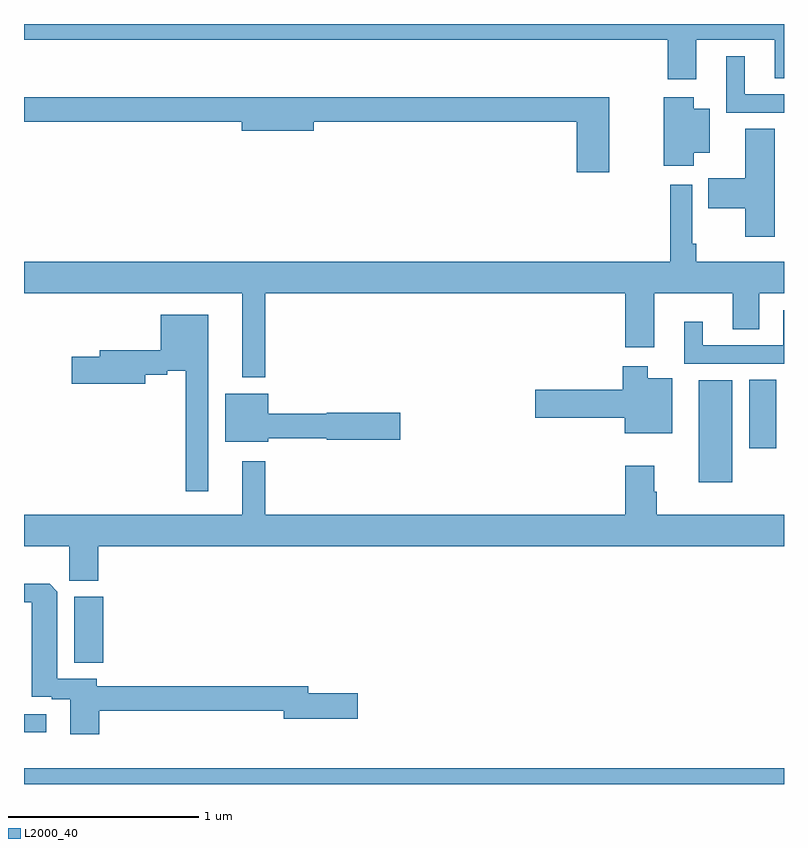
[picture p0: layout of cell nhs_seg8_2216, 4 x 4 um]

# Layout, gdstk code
import gdstk
lib = gdstk.Library(unit=1e-6, precision=1e-09)
def R(c, l, rs):  # rectangles x0, y0, x1, y1
    for r in rs: c.add(gdstk.rectangle(r[:2], r[2:], *l))
def P(c, l, *ps):  # polygons
    for p in ps: c.add(gdstk.Polygon(p, *l))
L2000_40 = (2000, 40)

nhs_seg8_2216 = lib.new_cell('nhs_seg8_2216')
R(nhs_seg8_2216, L2000_40, [(251,1129.9,255,1129.984), (251,1130.172,251.116,1130.268), (251.264,1130.539,251.417,1130.886), (254.552,1131.488,254.728,1132.024), (254.816,1131.666,254.959,1132.028)])
P(nhs_seg8_2216, L2000_40, [(254.539,1133.816),(254.951,1133.816),(254.951,1133.614),(255,1133.614),(255,1133.9),(251,1133.9),(251,1133.816),(254.387,1133.816),(254.387,1133.61),(254.539,1133.61)],
  [(255,1133.529),(254.794,1133.529),(254.794,1133.731),(254.696,1133.731),(254.696,1133.433),(255,1133.433)],
  [(254.524,1133.222),(254.608,1133.222),(254.608,1133.455),(254.524,1133.455),(254.524,1133.515),(254.366,1133.515),(254.366,1133.154),(254.524,1133.154)],
  [(254.08,1133.515),(251,1133.515),(251,1133.386),(252.146,1133.386),(252.146,1133.339),(252.526,1133.339),(252.526,1133.386),(253.91,1133.386),(253.91,1133.121),(254.08,1133.121)],
  [(254.95,1133.348),(254.795,1133.348),(254.795,1133.089),(254.602,1133.089),(254.602,1132.931),(254.795,1132.931),(254.795,1132.779),(254.95,1132.779)],
  [(252.271,1132.484),(254.165,1132.484),(254.165,1132.2),(254.317,1132.2),(254.317,1132.484),(254.729,1132.484),(254.729,1132.294),(254.869,1132.294),(254.869,1132.484),(255,1132.484),(255,1132.648),(254.537,1132.648),(254.537,1132.744),(254.517,1132.744),(254.517,1133.053),(254.401,1133.053),(254.401,1132.648),(251,1132.648),(251,1132.484),(252.149,1132.484),(252.149,1132.04),(252.271,1132.04)],
  [(255,1132.393),(254.996,1132.393),(254.996,1132.209),(254.572,1132.209),(254.572,1132.333),(254.474,1132.333),(254.474,1132.113),(255,1132.113)],
  [(251.971,1132.369),(251.72,1132.369),(251.72,1132.183),(251.399,1132.183),(251.399,1132.149),(251.25,1132.149),(251.25,1132.007),(251.638,1132.007),(251.638,1132.054),(251.753,1132.054),(251.753,1132.074),(251.85,1132.074),(251.85,1131.441),(251.971,1131.441)],
  [(254.413,1132.036),(254.284,1132.036),(254.284,1132.099),(254.15,1132.099),(254.15,1131.974),(253.692,1131.974),(253.692,1131.827),(254.162,1131.827),(254.162,1131.746),(254.413,1131.746)],
  [(252.286,1131.72),(252.594,1131.72),(252.594,1131.712),(252.979,1131.712),(252.979,1131.854),(252.594,1131.854),(252.594,1131.848),(252.286,1131.848),(252.286,1131.955),(252.059,1131.955),(252.059,1131.701),(252.286,1131.701)],
  [(251.39,1131.152),(255,1131.152),(255,1131.316),(254.33,1131.316),(254.33,1131.437),(254.317,1131.437),(254.317,1131.574),(254.165,1131.574),(254.165,1131.316),(252.271,1131.316),(252.271,1131.598),(252.149,1131.598),(252.149,1131.316),(251,1131.316),(251,1131.152),(251.239,1131.152),(251.239,1130.971),(251.39,1130.971)],
  [(251.396,1130.286),(252.368,1130.286),(252.368,1130.243),(252.757,1130.243),(252.757,1130.378),(252.496,1130.378),(252.496,1130.414),(251.383,1130.414),(251.383,1130.454),(251.176,1130.454),(251.176,1130.912),(251.135,1130.954),(251,1130.954),(251,1130.856),(251.042,1130.856),(251.042,1130.358),(251.147,1130.358),(251.147,1130.346),(251.243,1130.346),(251.243,1130.163),(251.396,1130.163)])

lib.write_gds('nhs_seg8_2216.gds')
